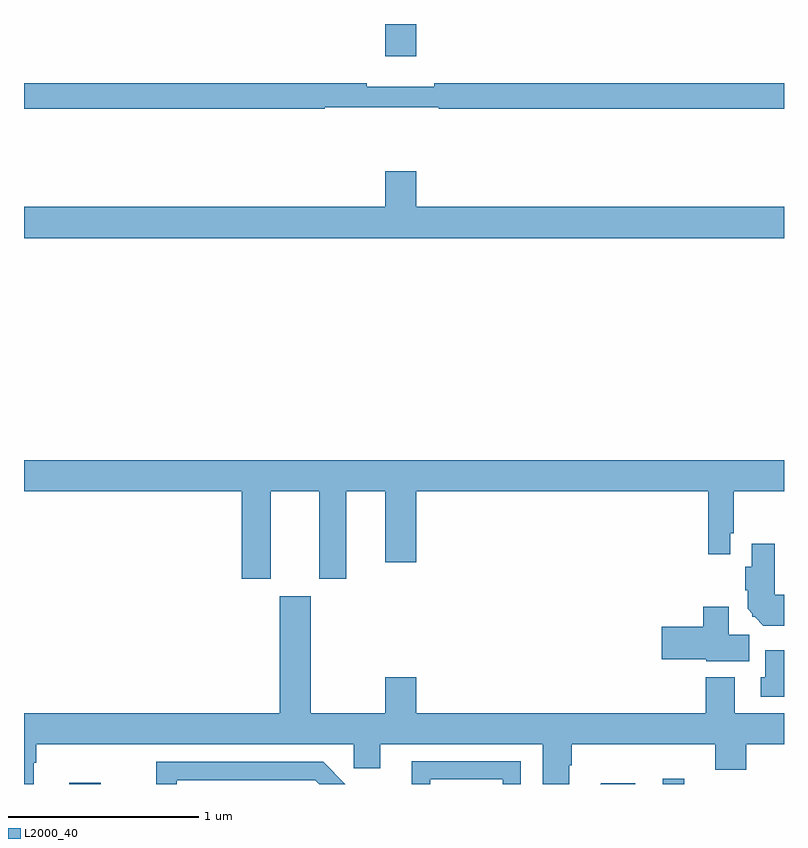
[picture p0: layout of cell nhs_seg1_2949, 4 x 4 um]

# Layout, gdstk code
import gdstk
lib = gdstk.Library(unit=1e-6, precision=1e-09)
def R(c, l, rs):  # rectangles x0, y0, x1, y1
    for r in rs: c.add(gdstk.rectangle(r[:2], r[2:], *l))
def P(c, l, *ps):  # polygons
    for p in ps: c.add(gdstk.Polygon(p, *l))
L2000_40 = (2000, 40)

nhs_seg1_2949 = lib.new_cell('nhs_seg1_2949')
R(nhs_seg1_2949, L2000_40, [(271.238,542.199,271.404,542.206), (274.361,542.199,274.476,542.227), (272.9,546.03,273.064,546.199)])
P(nhs_seg1_2949, L2000_40, [(272.582,545.76),(273.182,545.76),(273.182,545.752),(275,545.752),(275,545.888),(273.16,545.888),(273.16,545.869),(272.804,545.869),(272.804,545.888),(271,545.888),(271,545.752),(272.582,545.752)],
  [(275,545.236),(273.064,545.236),(273.064,545.425),(272.9,545.425),(272.9,545.236),(271,545.236),(271,545.072),(275,545.072)],
  [(272.299,543.74),(272.555,543.74),(272.555,543.279),(272.695,543.279),(272.695,543.74),(272.9,543.74),(272.9,543.366),(273.064,543.366),(273.064,543.74),(274.6,543.74),(274.6,543.408),(274.716,543.408),(274.716,543.52),(274.736,543.52),(274.736,543.74),(275,543.74),(275,543.904),(271,543.904),(271,543.74),(272.147,543.74),(272.147,543.279),(272.299,543.279)],
  [(275,543.196),(274.951,543.196),(274.951,543.463),(274.829,543.463),(274.829,543.342),(274.796,543.342),(274.796,543.22),(274.808,543.22),(274.808,543.121),(274.833,543.096),(274.833,543.078),(274.845,543.078),(274.891,543.032),(275,543.032)],
  [(271.051,542.312),(271.064,542.312),(271.064,542.408),(272.736,542.408),(272.736,542.281),(272.875,542.281),(272.875,542.408),(273.731,542.408),(273.731,542.199),(273.87,542.199),(273.87,542.299),(273.884,542.299),(273.884,542.408),(274.637,542.408),(274.637,542.275),(274.802,542.275),(274.802,542.408),(275,542.408),(275,542.572),(274.741,542.572),(274.741,542.761),(274.589,542.761),(274.589,542.572),(273.064,542.572),(273.064,542.761),(272.9,542.761),(272.9,542.572),(272.509,542.572),(272.509,543.187),(272.345,543.187),(272.345,542.572),(271,542.572),(271,542.199),(271.051,542.199)],
  [(274.816,542.985),(274.708,542.985),(274.708,543.133),(274.574,543.133),(274.574,543.026),(274.356,543.026),(274.356,542.855),(274.59,542.855),(274.59,542.846),(274.816,542.846)],
  [(275,542.902),(274.901,542.902),(274.901,542.76),(274.877,542.76),(274.877,542.658),(275,542.658)],
  [(273.138,542.223),(273.519,542.223),(273.519,542.199),(273.615,542.199),(273.615,542.319),(273.041,542.319),(273.041,542.199),(273.138,542.199)],
  [(271.803,542.22),(272.532,542.22),(272.553,542.199),(272.691,542.199),(272.574,542.316),(271.695,542.316),(271.695,542.199),(271.803,542.199)],
  [(274.216,542.204),(274.037,542.204),(274.032,542.199),(274.216,542.199)])

lib.write_gds('nhs_seg1_2949.gds')
